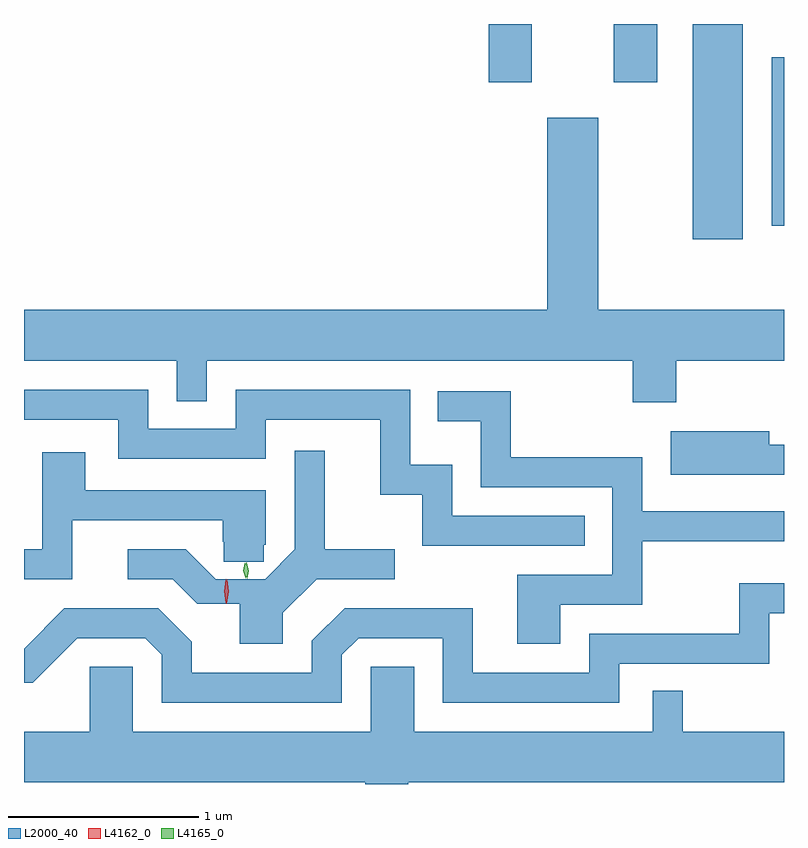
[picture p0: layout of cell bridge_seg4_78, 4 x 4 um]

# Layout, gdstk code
import gdstk
lib = gdstk.Library(unit=1e-6, precision=1e-09)
def R(c, l, rs):  # rectangles x0, y0, x1, y1
    for r in rs: c.add(gdstk.rectangle(r[:2], r[2:], *l))
def P(c, l, *ps):  # polygons
    for p in ps: c.add(gdstk.Polygon(p, *l))
L2000_40 = (2000, 40)
L4162_0 = (4162, 0)
L4165_0 = (4165, 0)

bridge_seg4_78 = lib.new_cell('bridge_seg4_78')
R(bridge_seg4_78, L2000_40, [(1866.226,1322.016,1866.489,1323.148), (1866.641,1322.086,1866.706,1322.974), (1865.151,1322.841,1865.379,1323.148), (1865.811,1322.841,1866.039,1323.148)])
P(bridge_seg4_78, L2000_40, [(1866.139,1321.376),(1866.706,1321.376),(1866.706,1321.644),(1865.729,1321.644),(1865.729,1322.654),(1865.461,1322.654),(1865.461,1321.644),(1862.706,1321.644),(1862.706,1321.376),(1863.511,1321.376),(1863.511,1321.163),(1863.669,1321.163),(1863.669,1321.376),(1865.911,1321.376),(1865.911,1321.156),(1866.139,1321.156)],
  [(1865.658,1320.559),(1864.959,1320.559),(1864.959,1320.829),(1864.739,1320.829),(1864.739,1321.224),(1863.821,1321.224),(1863.821,1321.019),(1863.359,1321.019),(1863.359,1321.224),(1862.706,1321.224),(1862.706,1321.066),(1863.201,1321.066),(1863.201,1320.861),(1863.979,1320.861),(1863.979,1321.066),(1864.581,1321.066),(1864.581,1320.671),(1864.801,1320.671),(1864.801,1320.401),(1865.658,1320.401)],
  [(1865.529,1320.091),(1865.959,1320.091),(1865.959,1320.426),(1866.706,1320.426),(1866.706,1320.584),(1865.959,1320.584),(1865.959,1320.869),(1865.269,1320.869),(1865.269,1321.214),(1864.883,1321.214),(1864.883,1321.056),(1865.111,1321.056),(1865.111,1320.711),(1865.801,1320.711),(1865.801,1320.249),(1865.301,1320.249),(1865.301,1319.886),(1865.529,1319.886)],
  [(1866.706,1320.934),(1866.629,1320.934),(1866.629,1321.004),(1866.111,1321.004),(1866.111,1320.776),(1866.706,1320.776)],
  [(1864.069,1320.049),(1864.247,1320.226),(1864.658,1320.226),(1864.658,1320.384),(1864.289,1320.384),(1864.289,1320.903),(1864.131,1320.903),(1864.131,1320.383),(1863.975,1320.226),(1863.715,1320.226),(1863.557,1320.384),(1863.253,1320.384),(1863.253,1320.226),(1863.489,1320.226),(1863.619,1320.096),(1863.841,1320.096),(1863.841,1319.886),(1864.069,1319.886)],
  [(1862.959,1320.536),(1863.751,1320.536),(1863.751,1320.424),(1863.757,1320.424),(1863.757,1320.317),(1863.968,1320.317),(1863.968,1320.407),(1863.978,1320.407),(1863.978,1320.694),(1863.029,1320.694),(1863.029,1320.894),(1862.801,1320.894),(1862.801,1320.384),(1862.706,1320.384),(1862.706,1320.226),(1862.959,1320.226)],
  [(1864.379,1319.829),(1864.467,1319.916),(1864.911,1319.916),(1864.911,1319.576),(1865.839,1319.576),(1865.839,1319.781),(1866.629,1319.781),(1866.629,1320.046),(1866.706,1320.046),(1866.706,1320.204),(1866.471,1320.204),(1866.471,1319.939),(1865.681,1319.939),(1865.681,1319.734),(1865.069,1319.734),(1865.069,1320.074),(1864.394,1320.074),(1864.221,1319.902),(1864.221,1319.734),(1863.589,1319.734),(1863.589,1319.897),(1863.412,1320.074),(1862.919,1320.074),(1862.706,1319.861),(1862.706,1319.681),(1862.752,1319.681),(1862.987,1319.916),(1863.344,1319.916),(1863.431,1319.829),(1863.431,1319.576),(1864.379,1319.576)],
  [(1864.729,1319.156),(1866.706,1319.156),(1866.706,1319.424),(1866.174,1319.424),(1866.174,1319.638),(1866.016,1319.638),(1866.016,1319.424),(1864.759,1319.424),(1864.759,1319.764),(1864.531,1319.764),(1864.531,1319.424),(1863.279,1319.424),(1863.279,1319.764),(1863.051,1319.764),(1863.051,1319.424),(1862.706,1319.424),(1862.706,1319.156),(1864.501,1319.156),(1864.501,1319.148),(1864.729,1319.148)])
P(bridge_seg4_78, L4162_0, [(1863.771,1320.098),(1863.764,1320.162),(1863.775,1320.225),(1863.776,1320.226),(1863.776,1320.225),(1863.784,1320.161),(1863.772,1320.098),(1863.772,1320.098)],
  [(1863.769,1320.101),(1863.769,1320.102),(1863.759,1320.162),(1863.769,1320.222),(1863.769,1320.223),(1863.77,1320.222),(1863.779,1320.162),(1863.77,1320.102)])
P(bridge_seg4_78, L4165_0, [(1863.881,1320.229),(1863.88,1320.23),(1863.869,1320.271),(1863.877,1320.312),(1863.878,1320.313),(1863.878,1320.312),(1863.889,1320.271),(1863.881,1320.23)],
  [(1863.872,1320.231),(1863.872,1320.232),(1863.861,1320.27),(1863.869,1320.31),(1863.87,1320.31),(1863.87,1320.31),(1863.881,1320.271),(1863.873,1320.232)])

lib.write_gds('bridge_seg4_78.gds')
